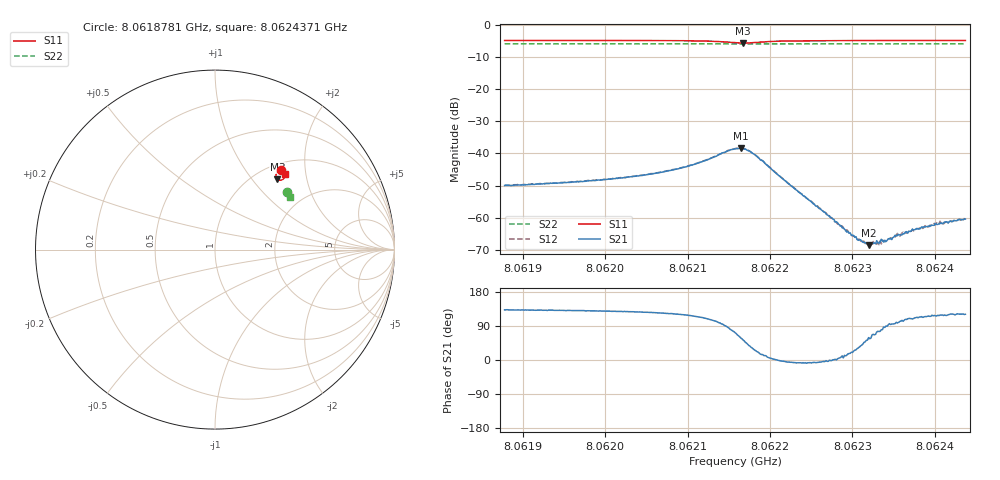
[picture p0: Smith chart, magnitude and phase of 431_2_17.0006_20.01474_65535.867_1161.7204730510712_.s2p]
#  HZ  S  RI  R  50.00
! Rohde & Schwarz Vector Network Analyzer
! Rohde-Schwarz,ZNB20-2Port,1311601062101988,3.16
! Created: UTC 3/20/2024, 11:11:21 PM
! freq[Hz]  re:S11  im:S11  re:S21  im:S21  re:S12  im:S12  re:S22  im:S22
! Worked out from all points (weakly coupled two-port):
!   401 points, 8.0618781 GHz to 8.0624371 GHz, reference 50 ohm
!   highest |S21| = -38.39 dB at 8.0621646 GHz (marker M1); lowest = -68.6 dB at 8.0623197 GHz (marker M2)
!   lowest |S11| = -5.6 dB at 8.0621674 GHz (marker M3), VSWR 3.20, Z = 62.6 + j67.7 ohm
!   |S11| at or under -10 dB: nowhere
!   |S22| runs from -5.9 to -5.8 dB; largest |S21 - S12| = 0.00087
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8.06187808e9  0.3693 0.4422  -0.00213 0.00234  -0.00197 0.00249  0.4004 0.3188
8.06197171e9  0.3761 0.436  -0.00237 0.00279  -0.0022 0.00296  0.4039 0.3141
8.06202622e9  0.3804 0.4312  -0.00262 0.00336  -0.00239 0.00353  0.4058 0.3113
8.06206535e9  0.3841 0.426  -0.00283 0.00414  -0.00261 0.00433  0.4074 0.3092
8.06210727e9  0.3879 0.4157  -0.00296 0.00603  -0.00257 0.00622  0.4087 0.3067
8.06215758e9  0.3641 0.3865  0.00359 0.0112  0.00422 0.0111  0.409 0.3033
8.06216457e9  0.3521 0.3893  0.00628 0.0103  0.00692 0.00993  0.4087 0.3032
8.06216736e9  0.3478 0.3923  0.00716 0.00946  0.00774 0.00912  0.4086 0.3034
8.06217295e9  0.3416 0.4003  0.00835 0.00737  0.00879 0.00703  0.4086 0.3035
8.06218274e9  0.3398 0.416  0.0085 0.00382  0.00872 0.00341  0.4089 0.3037
8.06222326e9  0.3626 0.4355  0.0033 -0.000316  0.00331 -0.000498  0.4118 0.3024
8.06225121e9  0.3715 0.4347  0.0017 -0.000208  0.00172 -0.000342  0.4132 0.3009
8.06229873e9  0.3796 0.4313  0.000498 0.000187  0.000506 0.000168  0.415 0.2984
8.06230851e9  0.3808 0.4307  0.00037 0.000251  0.000393 0.000239  0.4154 0.2979
8.06231969e9  0.3821 0.4298  0.000191 0.000321  0.000267 0.000302  0.4157 0.2973
8.06233227e9  0.3835 0.429  0.0001 0.000385  9.64e-05 0.000367  0.4162 0.2967
8.06234485e9  0.3846 0.4282  -4.81e-05 0.000469  1.38e-05 0.000466  0.4166 0.2958
8.06235323e9  0.3854 0.4276  -8.58e-05 0.000516  -3.29e-05 0.000526  0.4171 0.2953
8.06236022e9  0.3861 0.4272  -0.000137 0.00052  -9.29e-05 0.000572  0.4172 0.2951
8.06237559e9  0.3872 0.4261  -0.000235 0.000605  -0.000182 0.000621  0.4178 0.2943
8.06240494e9  0.3896 0.4245  -0.000367 0.000713  -0.000355 0.000717  0.4189 0.2927
8.06243708e9  0.3919 0.4224  -0.000485 0.000815  -0.000425 0.000839  0.4199 0.291
